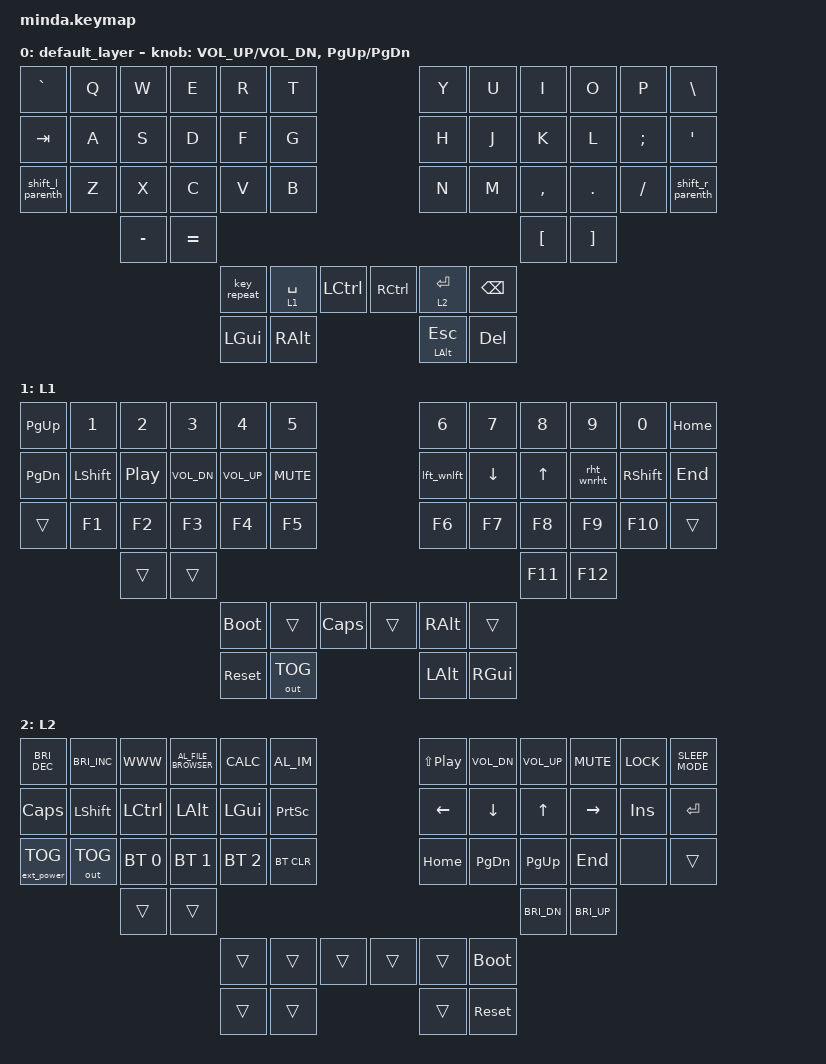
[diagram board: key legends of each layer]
/*
 * Copyright (c) 2020 The ZMK Contributors
 *
 * SPDX-License-Identifier: MIT
 */

#include <behaviors.dtsi>
#include <dt-bindings/zmk/bt.h>
#include <dt-bindings/zmk/ext_power.h>
#include <dt-bindings/zmk/keys.h>
#include <dt-bindings/zmk/outputs.h>

/ {
    macros {
        ctrl_win_left: ctrl_win_left {
            label = "ctrl+windows+left";
            compatible = "zmk,behavior-macro";
            #binding-cells = <0>;
            bindings =
                <&macro_press>,
                <&kp LGUI &kp LCTRL>,
                <&macro_tap>,
                <&kp LEFT>,
                <&macro_release>,
                <&kp LGUI &kp LCTRL>;
        };

        ctrl_win_right: ctrl_win_right {
            label = "ctrl+windows+right";
            compatible = "zmk,behavior-macro";
            #binding-cells = <0>;
            bindings =
                <&macro_press>,
                <&kp LGUI &kp LCTRL>,
                <&macro_tap>,
                <&kp RIGHT>,
                <&macro_release>,
                <&kp LGUI &kp LCTRL>;
        };

        CtrlShiftEsc: CtrlShiftEsc {
            compatible = "zmk,behavior-macro";
            label = "new_macro";
            #binding-cells = <0>;
            bindings = <&macro_tap>, <&kp LS(LC(ESC))>;
        };
    };

    behaviors {
        lft_wnlft: lft_wnlft {
            compatible = "zmk,behavior-mod-morph";
            label = "left_or_windowsLeft";
            #binding-cells = <0>;
            bindings = <&kp LEFT>, <&ctrl_win_left>;

            mods = <(MOD_LALT|MOD_RALT)>;
        };

        rht_wnrht: rht_wnrht {
            compatible = "zmk,behavior-mod-morph";
            label = "right_or_windowsRight";
            #binding-cells = <0>;
            bindings = <&kp RIGHT>, <&ctrl_win_right>;

            mods = <(MOD_LALT|MOD_RALT)>;
        };

        shift_l_parenth: shift_l_parenth {
            compatible = "zmk,behavior-mod-morph";
            label = "SHIFT_L_PARENTH";
            bindings = <&kp LEFT_SHIFT>, <&kp LEFT_PARENTHESIS>;

            #binding-cells = <0>;
            mods = <(MOD_RSFT)>;
        };

        shift_r_parenth: shift_r_parenth {
            compatible = "zmk,behavior-mod-morph";
            label = "SHIFT_R_PARENTH";
            bindings = <&kp RIGHT_SHIFT>, <&kp KP_RIGHT_PARENTHESIS>;

            #binding-cells = <0>;
            mods = <(MOD_LSFT)>;
        };
    };

    combos {
        compatible = "zmk,combos";

        combo_double_bracket {
            bindings = <&CtrlShiftEsc>;
            key-positions = <38 39>;
            layers = <1>;
        };

        combo_switch_app_fwd {
            bindings = <&kp LA(TAB)>;
            key-positions = <36 37>;
            layers = <0>;
        };
    };

    keymap {
        compatible = "zmk,keymap";

        default_layer {
            // ---------------------------------------------------------------------------------------------------------------------------------
            // |  ESC  |  Q  |  W  |  E   |  R   |  T   |                                          |  Y   |  U    |  I    |  O   |   P   |   \  |
            // |  TAB  |  A  |  S  |  D   |  F   |  G   |                                          |  H   |  J    |  K    |  L   |   ;   |   '  |
            // | SHIFT |  Z  |  X  |  C   |  V   |  B   | L SHIFT | L SHIFT |  | L SHIFT | L SHIFT |  N   |  M    |  ,    |  .   |   /   | CTRL |
            //                     | GUI  | DEL  | RET  |  SPACE  |   ESC   |  |   RET   |  SPACE  | TAB  | BSPC  | R-ALT |

            bindings = <
&kp GRAVE         &kp Q  &kp W      &kp E      &kp R        &kp T                              &kp Y            &kp U     &kp I      &kp O     &kp P     &kp BSLH
&kp TAB           &kp A  &kp S      &kp D      &kp F        &kp G                              &kp H            &kp J     &kp K      &kp L     &kp SEMI  &kp SQT
&shift_l_parenth  &kp Z  &kp X      &kp C      &kp V        &kp B                              &kp N            &kp M     &kp COMMA  &kp DOT   &kp FSLH  &shift_r_parenth
                         &kp MINUS  &kp EQUAL                                                                             &kp LBKT   &kp RBKT
                                               &key_repeat  &lt 1 SPACE  &kp LCTRL  &kp RCTRL  &lt 2 ENTER      &kp BSPC
                                               &kp LGUI     &kp RALT                           &mt LALT ESCAPE  &kp DEL
            >;

            sensor-bindings = <&inc_dec_kp C_VOL_UP C_VOL_DN &inc_dec_kp PG_UP PG_DN>;
        };

        L1 {
            bindings = <
&kp PAGE_UP    &kp NUMBER_1  &kp NUMBER_2      &kp N3        &kp N4           &kp N5                              &kp N6      &kp N7    &kp N8   &kp N9      &kp N0      &kp HOME
&kp PAGE_DOWN  &kp LSHFT     &kp C_PLAY_PAUSE  &kp C_VOL_DN  &kp C_VOLUME_UP  &kp K_MUTE                          &lft_wnlft  &kp DOWN  &kp UP   &rht_wnrht  &kp RSHIFT  &kp END
&trans         &kp F1        &kp F2            &kp F3        &kp F4           &kp F5                              &kp F6      &kp F7    &kp F8   &kp F9      &kp F10     &trans
                             &trans            &trans                                                                                   &kp F11  &kp F12
                                                             &bootloader      &trans        &kp CAPSLOCK  &trans  &kp RALT    &trans
                                                             &sys_reset       &out OUT_TOG                        &kp LALT    &kp RGUI
            >;
        };

        L2 {
            bindings = <
&kp C_BRIGHTNESS_DEC  &kp C_BRIGHTNESS_INC  &kp K_WWW     &kp C_AL_FILE_BROWSER  &kp K_CALC    &kp C_AL_IM                      &kp LS(C_PLAY_PAUSE)  &kp C_VOL_DN  &kp C_VOL_UP  &kp K_MUTE    &kp K_LOCK  &kp C_SLEEP_MODE
&kp CAPS              &kp LSHFT             &kp LCTRL     &kp LEFT_ALT           &kp LGUI      &kp PRINTSCREEN                  &kp LEFT              &kp DOWN      &kp UP        &kp RIGHT     &kp INSERT  &kp ENTER
&ext_power EP_TOG     &out OUT_TOG          &bt BT_SEL 0  &bt BT_SEL 1           &bt BT_SEL 2  &bt BT_CLR                       &kp HOME              &kp PG_DN     &kp PG_UP     &kp END       &none       &trans
                                            &trans        &trans                                                                                                    &kp C_BRI_DN  &kp C_BRI_UP
                                                                                 &trans        &trans           &trans  &trans  &trans                &bootloader
                                                                                 &trans        &trans                           &trans                &sys_reset
            >;
        };
    };
};
